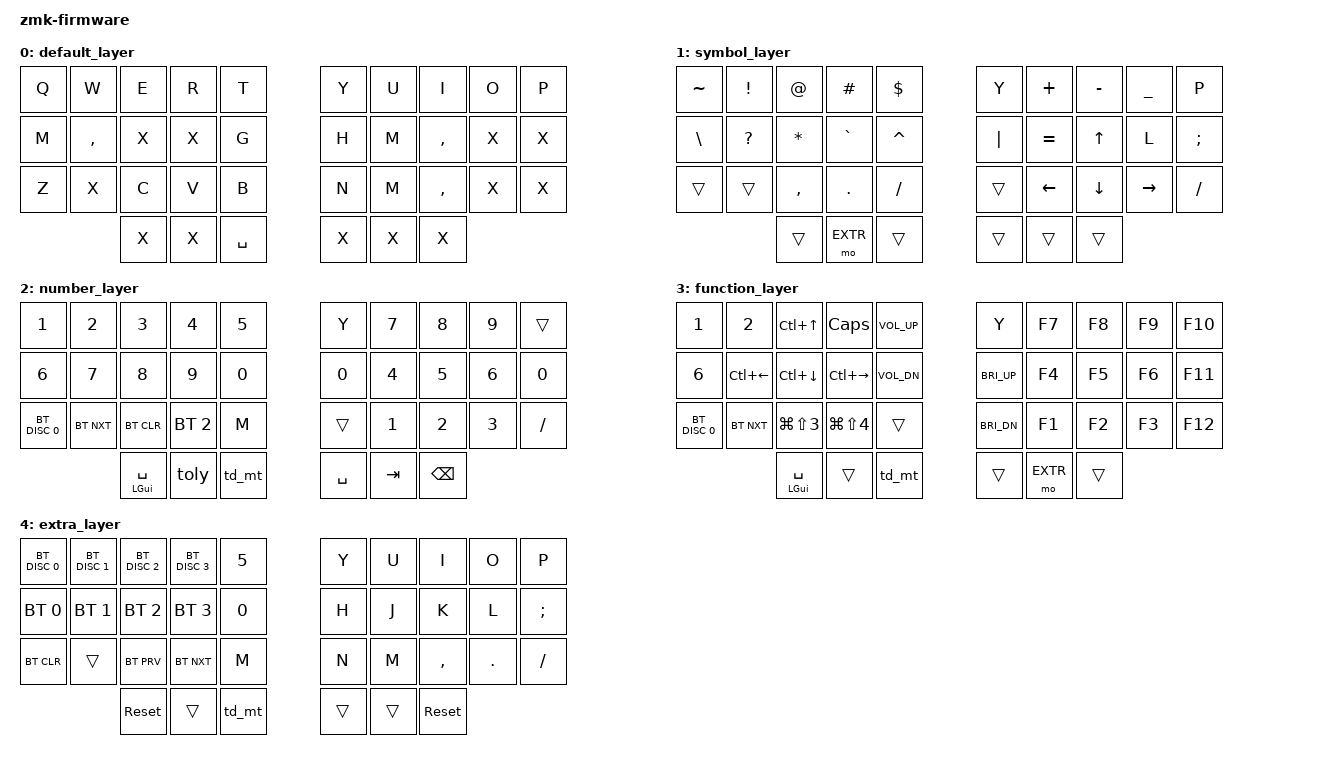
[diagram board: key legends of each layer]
// Copyright (c) 2022 The ZMK Contributors
// SPDX-License-Identifier: MIT

#include <behaviors.dtsi>
#include <dt-bindings/zmk/keys.h>
#include <dt-bindings/zmk/bt.h>

// Home row mods macro
#define HRML(k1,k2,k3,k4) &ht LCTRL k1  &ht LALT k2  &ht LGUI k3  &ht LSHFT k4
#define HRMR(k1,k2,k3,k4) &ht RSHFT k1  &ht RGUI k2  &ht RALT k3  &ht RCTRL k4

#define BASE 0
#define SYMB 1
#define NUM 2
#define FUNC 3
#define EXTR 4


/ {
    compatible = "zmk,firmware";
    model = "zmk-firmware";
    
    behaviors {
        td_mt: tap_dance_mod_tap {
            compatible = "zmk,behavior-tap-dance";
            #binding-cells = <0>;
            tapping-term-ms = <200>;
                            //hold tap, tap tap
           bindings = <&kp LSHFT>, <&kp LCTRL>, <&kp LALT>;
        };

        ht: hold_tap {
            compatible = "zmk,behavior-hold-tap";
            #binding-cells = <2>;
            flavor = "tap-preferred";
            tapping-term-ms = <220>;
            quick-tap-ms = <150>;
            require-prior-idle-ms = <100>;
            bindings = <&kp>, <&kp>;
        };
        toly: to_lyr {
            compatible = "zmk,behavior-tap-dance";
            #binding-cells = <0>;
            tapping-term-ms = <200>;
            bindings =<&to 0>, <&to 1>, <&to 2>;
        };
    };


    keymap {
        compatible = "zmk,keymap";
 
        default_layer {
            bindings = <
    &kp Q    &kp W    &kp E     &kp R     &kp T                                                &kp Y     &kp U     &kp I     &kp O     &kp P    
    &kp M     &kp COMMA &kp X   &kp X    &kp G                                                 &kp H     &kp M     &kp COMMA &kp X   &kp X
    &kp Z    &kp X    &kp C     &kp V     &kp B                                                 &kp N     &kp M     &kp COMMA &kp X   &kp X
                                &kp X &kp X  &kp SPACE                     &kp X &kp X  &kp X   
            >; 
              };
             

        symbol_layer {

            bindings = <
    &kp TILDE     &kp EXCL     &kp AT     &kp HASH    &kp DOLLAR                                 &kp Y     &kp PLUS  &kp MINUS  &kp UNDER &kp P    
    &kp BSLH     &kp QMARK &kp ASTRK  &kp GRAVE   &kp CARET                                      &kp PIPE  &kp EQUAL &kp UP     &kp L     &kp SEMI
    &trans     &trans     &kp COMMA &kp DOT   &kp FSLH                                           &trans    &kp LEFT  &kp DOWN &kp RIGHT   &kp FSLH
                            &trans &mo EXTR &trans                                         &trans  &trans   &trans
                        >;
            };

        number_layer {
            bindings = <
    &kp N1     &kp N2     &kp N3  &kp N4     &kp N5                                               &kp Y     &kp N7     &kp N8     &kp N9     &trans    
    &kp N6     &kp N7     &kp N8  &kp N9      &kp N0                                              &kp N0     &kp N4     &kp N5     &kp N6     &kp N0
    &bt BT_DISC 0 &bt BT_NXT &bt BT_CLR  &bt BT_SEL 2   &kp M                                     &trans &kp N1     &kp N2    &kp N3      &kp FSLH
                         &mt LGUI SPACE  &toly  &td_mt                      &kp SPACE &kp TAB   &kp BSPC  
            >;

        };
        function_layer {
            bindings = <
            &kp N1     &kp N2     &kp LC(UP)  &kp CAPS     &kp  C_VOL_UP                                             &kp Y     &kp F7     &kp F8     &kp F9     &kp F10    
            &kp N6     &kp LC(LEFT)     &kp LC(DOWN)  &kp LC(RIGHT)      &kp  C_VOL_DN                      &kp C_BRI_UP     &kp F4     &kp F5     &kp F6     &kp F11
            &bt BT_DISC 0 &bt BT_NXT &kp LG(LS(N3))  &kp LG(LS(NUMBER_4))   &trans                      &kp C_BRI_DN     &kp F1     &kp F2 &kp F3   &kp F12
                                    &mt LGUI SPACE  &trans  &td_mt                                                &trans &mo EXTR   &trans  
            >;
        };

        extra_layer {
            // --------------------------------------------------------------------------------------------------------------------------------------------------------------------
            // |   ESC   |    Q    |    W    |    E    |    R    |    T    |                                          |    Y    |    U    |    I    |    O    |    P    |    \    |
            // |   TAB   |    A    |    S    |    D    |    F    |    G    |                                          |    H    |    J    |    K    |    L    |    ;    |    '    |
            // |  SHIFT  |    Z    |    X    |    C    |    V    |    B    | CTRL+A  | CTRL+C  |  |  CTRL+V |  CTRL+X |    N    |    M    |    ,    |    .    |    /    |  R CTRL |
            //                               |   GUI   |   DEL   | RETURN  |  SPACE  | ESCAPE  |  |  RETURN |  SPACE  |   TAB   |   BSPC  |  R ALT  |
            bindings = <
            &bt BT_DISC 0    &bt BT_DISC 1   &bt BT_DISC 2 &bt BT_DISC 3   &kp N5                                                  &kp Y     &kp U     &kp I     &kp O     &kp P    
            &bt BT_SEL 0     &bt BT_SEL 1    &bt BT_SEL 2   &bt BT_SEL 3     &kp N0                                                &kp H     &kp J     &kp K     &kp L     &kp SEMI
            &bt BT_CLR &trans &bt BT_PRV  &bt BT_NXT   &kp M                                               &kp N     &kp M     &kp COMMA &kp DOT   &kp FSLH
                                    &sys_reset  &trans  &td_mt                      &trans &trans   &sys_reset 
            >;
        
        };
    };
     
    combos {
        compatible = "zmk,combos";
        combo_esc {
            timeout-ms = <50>;
            key-positions = <3 13>;
            bindings = <&kp ESC>;
        };
        combo_tab {
            timeout-ms = <50>;
            key-positions = <1 11>;
            bindings = <&kp TAB>;
        };
        combo_bsp {
            timeout-ms = <50>;
            key-positions = <12 13>;
            bindings = <&kp BSPC>;
        };
        combo_boot {
            timeout-ms = <50>;
            key-positions = <1 2 3 4>;
            bindings = <&bootloader>;
        };
    };

};
